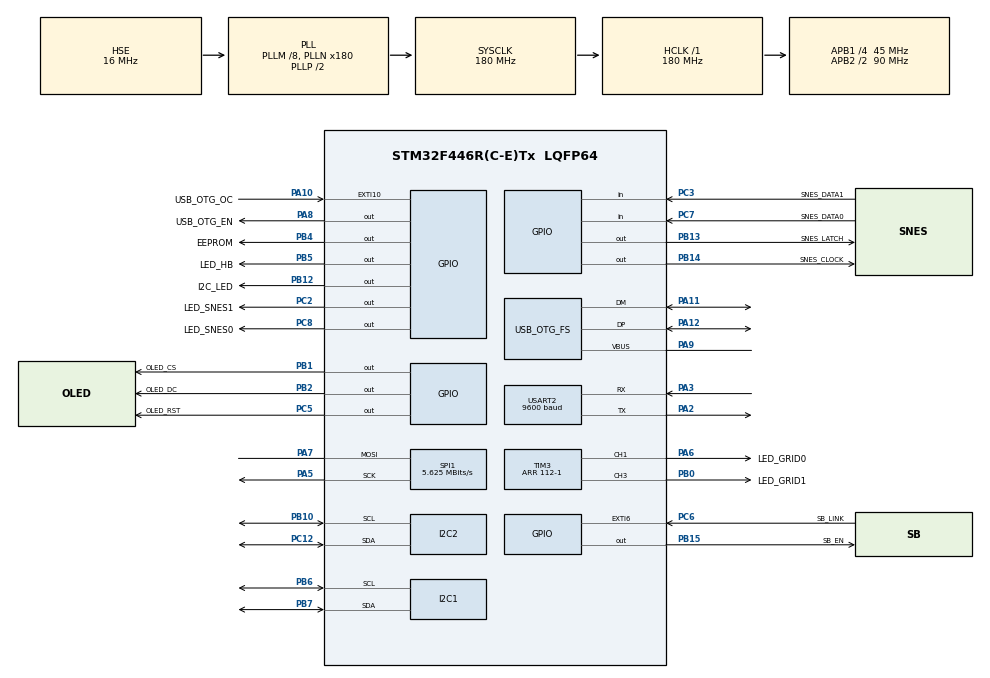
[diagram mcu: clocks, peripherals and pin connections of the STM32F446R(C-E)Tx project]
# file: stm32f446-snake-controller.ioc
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Dma.Request0=TIM3_CH1/TRIG
Dma.Request1=TIM3_CH3
Dma.TIM3_CH1/TRIG.0.Direction=DMA_MEMORY_TO_PERIPH
Dma.TIM3_CH1/TRIG.0.FIFOMode=DMA_FIFOMODE_DISABLE
Dma.TIM3_CH1/TRIG.0.Instance=DMA1_Stream4
Dma.TIM3_CH1/TRIG.0.MemDataAlignment=DMA_MDATAALIGN_HALFWORD
Dma.TIM3_CH1/TRIG.0.MemInc=DMA_MINC_ENABLE
Dma.TIM3_CH1/TRIG.0.Mode=DMA_NORMAL
Dma.TIM3_CH1/TRIG.0.PeriphDataAlignment=DMA_PDATAALIGN_HALFWORD
Dma.TIM3_CH1/TRIG.0.PeriphInc=DMA_PINC_DISABLE
Dma.TIM3_CH1/TRIG.0.Priority=DMA_PRIORITY_HIGH
Dma.TIM3_CH3.1.Direction=DMA_MEMORY_TO_PERIPH
Dma.TIM3_CH3.1.FIFOMode=DMA_FIFOMODE_DISABLE
Dma.TIM3_CH3.1.Instance=DMA1_Stream7
Dma.TIM3_CH3.1.MemDataAlignment=DMA_MDATAALIGN_HALFWORD
Dma.TIM3_CH3.1.MemInc=DMA_MINC_ENABLE
Dma.TIM3_CH3.1.Mode=DMA_NORMAL
Dma.TIM3_CH3.1.PeriphDataAlignment=DMA_PDATAALIGN_HALFWORD
Dma.TIM3_CH3.1.PeriphInc=DMA_PINC_DISABLE
Dma.TIM3_CH3.1.Priority=DMA_PRIORITY_HIGH
FREERTOS.HEAP_NUMBER=4
FREERTOS.Tasks01=defaultTask,24,512,StartDefaultTask,Default,NULL,Dynamic,NULL,NULL;heartbeatTask,8,128,StartHeartbeatTask,Default,NULL,Dynamic,NULL,NULL;Rj45LEDTask,8,128,StartRj45LED,Default,NULL,Dynamic,NULL,NULL
FREERTOS.configTOTAL_HEAP_SIZE=80000
FREERTOS.configUSE_NEWLIB_REENTRANT=1
I2C2.I2C_Mode=I2C_Fast
I2C2.OwnAddress=0x10
Mcu.Family=STM32F4
Mcu.Name=STM32F446R(C-E)Tx
Mcu.Package=LQFP64
NVIC.DMA1_Stream4_IRQn=true\:5\:0\:false\:false\:true\:true\:false\:true\:true
NVIC.DMA1_Stream7_IRQn=true\:5\:0\:false\:false\:true\:true\:false\:true\:true
NVIC.EXTI15_10_IRQn=true\:5\:0\:false\:false\:true\:true\:true\:true\:true
NVIC.EXTI9_5_IRQn=true\:5\:0\:false\:false\:true\:true\:true\:true\:true
NVIC.I2C2_ER_IRQn=true\:5\:0\:false\:false\:true\:true\:true\:true\:true
NVIC.I2C2_EV_IRQn=true\:5\:0\:false\:false\:true\:true\:true\:true\:true
NVIC.OTG_FS_IRQn=true\:5\:0\:false\:false\:true\:true\:false\:true\:true
NVIC.PriorityGroup=NVIC_PRIORITYGROUP_4
NVIC.TIM4_IRQn=true\:15\:0\:false\:false\:true\:false\:false\:true\:true
NVIC.TIM8_UP_TIM13_IRQn=true\:5\:0\:false\:false\:true\:true\:true\:true\:true
NVIC.TimeBase=TIM4_IRQn
NVIC.TimeBaseIP=TIM4
NVIC.USART2_IRQn=true\:5\:0\:false\:false\:true\:true\:true\:true\:true
PA10.GPIO_Label=USB_OTG_OC
PA10.GPIO_ModeDefaultEXTI=GPIO_MODE_IT_FALLING
PA10.Signal=GPXTI10
PA11.Mode=Host_Only
PA11.Signal=USB_OTG_FS_DM
PA12.Mode=Host_Only
PA12.Signal=USB_OTG_FS_DP
PA13.Mode=Trace_Asynchronous_SW
PA13.Signal=SYS_JTMS-SWDIO
PA14.Mode=Trace_Asynchronous_SW
PA14.Signal=SYS_JTCK-SWCLK
PA2.Mode=Asynchronous
PA2.Signal=USART2_TX
PA3.Mode=Asynchronous
PA3.Signal=USART2_RX
PA5.Mode=Simplex_Bidirectional_Master
PA5.Signal=SPI1_SCK
PA6.GPIO_Label=LED_GRID0
PA6.Signal=S_TIM3_CH1
PA7.Mode=Simplex_Bidirectional_Master
PA7.Signal=SPI1_MOSI
PA8.GPIO_Label=USB_OTG_EN
PA8.GPIO_ModeDefaultOutputPP=GPIO_MODE_OUTPUT_OD
PA8.GPIO_PuPd=GPIO_NOPULL
PA8.Signal=GPIO_Output
PA9.Mode=Activate_VBUS
PA9.Signal=USB_OTG_FS_VBUS
PB0.GPIO_Label=LED_GRID1
PB0.Signal=S_TIM3_CH3
PB1.GPIO_Label=OLED_CS
PB1.Signal=GPIO_Output
PB10.GPIO_Pu=GPIO_PULLUP
PB10.Mode=I2C
PB10.Signal=I2C2_SCL
PB12.GPIO_Label=I2C_LED
PB12.GPIO_ModeDefaultOutputPP=GPIO_MODE_OUTPUT_OD
PB12.GPIO_PuPd=GPIO_NOPULL
PB12.GPIO_Speed=GPIO_SPEED_FREQ_HIGH
PB12.PinState=GPIO_PIN_SET
PB12.Signal=GPIO_Output
PB13.GPIO_Label=SNES_LATCH
PB13.GPIO_ModeDefaultOutputPP=GPIO_MODE_OUTPUT_OD
PB13.GPIO_PuPd=GPIO_PULLUP
PB13.Signal=GPIO_Output
PB14.GPIO_Label=SNES_CLOCK
PB14.GPIO_ModeDefaultOutputPP=GPIO_MODE_OUTPUT_OD
PB14.GPIO_PuPd=GPIO_PULLUP
PB14.PinState=GPIO_PIN_SET
PB14.Signal=GPIO_Output
PB15.GPIO_Label=SB_EN
PB15.PinState=GPIO_PIN_SET
PB15.Signal=GPIO_Output
PB2.GPIO_Label=OLED_DC
PB2.Signal=GPIO_Output
PB3.Mode=Trace_Asynchronous_SW
PB3.Signal=SYS_JTDO-SWO
PB4.GPIO_Label=EEPROM
PB4.Signal=GPIO_Output
PB5.GPIO_Label=LED_HB
PB5.Signal=GPIO_Output
PB6.Mode=I2C
PB6.Signal=I2C1_SCL
PB7.Mode=I2C
PB7.Signal=I2C1_SDA
PC12.GPIO_Pu=GPIO_PULLUP
PC12.Mode=I2C
PC12.Signal=I2C2_SDA
PC14-OSC32_IN.Mode=LSE-External-Oscillator
PC14-OSC32_IN.Signal=RCC_OSC32_IN
PC15-OSC32_OUT.Mode=LSE-External-Oscillator
PC15-OSC32_OUT.Signal=RCC_OSC32_OUT
PC2.GPIO_Label=LED_SNES1
PC2.Signal=GPIO_Output
PC3.GPIO_Label=SNES_DATA1
PC3.GPIO_PuPd=GPIO_PULLDOWN
PC3.Signal=GPIO_Input
PC5.GPIO_Label=OLED_RST
PC5.Signal=GPIO_Output
PC6.GPIO_Label=SB_LINK
PC6.GPIO_ModeDefaultEXTI=GPIO_MODE_IT_RISING_FALLING
PC6.Signal=GPXTI6
PC7.GPIO_Label=SNES_DATA0
PC7.GPIO_PuPd=GPIO_PULLDOWN
PC7.Signal=GPIO_Input
PC8.GPIO_Label=LED_SNES0
PC8.Signal=GPIO_Output
PH0-OSC_IN.Mode=HSE-External-Oscillator
PH0-OSC_IN.Signal=RCC_OSC_IN
PH1-OSC_OUT.Mode=HSE-External-Oscillator
PH1-OSC_OUT.Signal=RCC_OSC_OUT
ProjectManager.HeapSize=0x1000
ProjectManager.StackSize=0x400
ProjectManager.TargetToolchain=STM32CubeIDE
RCC.AHBFreq_Value=180000000
RCC.APB1CLKDivider=RCC_HCLK_DIV4
RCC.APB1Freq_Value=45000000
RCC.APB1TimFreq_Value=90000000
RCC.APB2CLKDivider=RCC_HCLK_DIV2
RCC.APB2Freq_Value=90000000
RCC.APB2TimFreq_Value=180000000
RCC.CortexFreq_Value=180000000
RCC.HCLKFreq_Value=180000000
RCC.HSE_VALUE=16000000
RCC.PLLM=8
RCC.PLLN=180
RCC.PLLQ=7
RCC.PLLSAIP=RCC_PLLSAIP_DIV4
RCC.RCC_RTC_Clock_SourceVirtual=RCC_RTCCLKSOURCE_LSE
RCC.SYSCLKFreq_VALUE=180000000
RCC.SYSCLKSource=RCC_SYSCLKSOURCE_PLLCLK
RCC.USBCLockSelection=RCC_CLK48CLKSOURCE_PLLSAIP
RCC.USBFreq_Value=48000000
RCC.VCOOutputFreq_Value=360000000
SH.S_TIM3_CH1.0=TIM3_CH1,PWM Generation1 CH1
SH.S_TIM3_CH3.0=TIM3_CH3,PWM Generation3 CH3
SPI1.BaudRatePrescaler=SPI_BAUDRATEPRESCALER_16
SPI1.CLKPhase=SPI_PHASE_1EDGE
SPI1.CLKPolarity=SPI_POLARITY_HIGH
SPI1.CalculateBaudRate=5.625 MBits/s
SPI1.Direction=SPI_DIRECTION_1LINE
SPI1.Mode=SPI_MODE_MASTER
SPI1.VirtualType=VM_MASTER
TIM1.Prescaler=168-1
TIM13.Period=410-1
TIM13.Prescaler=9000-1
TIM2.Prescaler=90-1
TIM3.Channel-PWM\ Generation1\ CH1=TIM_CHANNEL_1
TIM3.Channel-PWM\ Generation3\ CH3=TIM_CHANNEL_3
TIM3.Period=112-1
TIM5.Prescaler=90-1
USART2.BaudRate=9600
USART2.Mode=MODE_RX
USART2.VirtualMode=VM_ASYNC
USB_HOST.SW_VBUS_DRIVE_HID_FS=true
USB_HOST.USBH_HandleTypeDef-HID_FS=hUsbHostFS
USB_HOST.VirtualModeFS=Hid
USB_OTG_FS.VirtualMode=Host_Only
USB_OTG_FS.phy_itface=HCD_PHY_EMBEDDED
VP_FREERTOS_VS_CMSIS_V2.Mode=CMSIS_V2
VP_RTC_VS_RTC_Activate.Mode=RTC_Enabled
VP_SYS_VS_tim4.Mode=TIM4
VP_TIM13_VS_ClockSourceINT.Mode=Enable_Timer
VP_TIM1_VS_ClockSourceINT.Mode=Internal
VP_TIM2_VS_ClockSourceINT.Mode=Internal
VP_TIM3_VS_ClockSourceINT.Mode=Internal
VP_TIM5_VS_ClockSourceINT.Mode=Internal
VP_USB_HOST_VS_USB_HOST_HID_FS.Mode=HID_FS
board=custom

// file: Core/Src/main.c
/* USER CODE BEGIN Header */
/**
 ******************************************************************************
 * @file           : main.c
 * @brief          : Main program body
 ******************************************************************************
 * @attention
 *
 * Copyright (c) 2023 STMicroelectronics.
 * All rights reserved.
 *
 * This software is licensed under terms that can be found in the LICENSE file
 * in the root directory of this software component.
 * If no LICENSE file comes with this software, it is provided AS-IS.
 *
 ******************************************************************************
 */
/* USER CODE END Header */
#include "main.h"
#include "cmsis_os.h"
#include "usb_host.h"

/* USER CODE BEGIN Includes */
#include <stdio.h>
#include <stdlib.h>
#include <string.h>
#include "game.h"
#include "snes_controller.h"
#include "ws2812.h"
#include "led_indicator.h"

/* USER CODE END Includes */

/* USER CODE BEGIN PD */
#define RTC_DRIFT_CORRECTION_DIR 1 // 1 for fast, -1 for slow
#define RTC_DRIFT_NUM_SECONDS 0.5 // Number of seconds to drift over
#define RTC_DRIFT_CORRECTION_VALUE (RTC_DRIFT_NUM_SECONDS / 0.0824) // Value to adjust the RTC by to correct for drift

/* USER CODE END PD */

I2C_HandleTypeDef hi2c1;
I2C_HandleTypeDef hi2c2;

RTC_HandleTypeDef hrtc;

SPI_HandleTypeDef hspi1;

TIM_HandleTypeDef htim1;
TIM_HandleTypeDef htim2;
TIM_HandleTypeDef htim3;
TIM_HandleTypeDef htim5;
TIM_HandleTypeDef htim13;
DMA_HandleTypeDef hdma_tim3_ch1_trig;
DMA_HandleTypeDef hdma_tim3_ch3;

UART_HandleTypeDef huart2;

/* Definitions for defaultTask */
osThreadId_t defaultTaskHandle;
const osThreadAttr_t defaultTask_attributes = {
  .name = "defaultTask",
  .stack_size = 512 * 4,
  .priority = (osPriority_t) osPriorityNormal,
};
/* Definitions for heartbeatTask */
osThreadId_t heartbeatTaskHandle;
const osThreadAttr_t heartbeatTask_attributes = {
  .name = "heartbeatTask",
  .stack_size = 128 * 4,
  .priority = (osPriority_t) osPriorityLow,
};
/* Definitions for Rj45LEDTask */
osThreadId_t Rj45LEDTaskHandle;
const osThreadAttr_t Rj45LEDTask_attributes = {
  .name = "Rj45LEDTask",
  .stack_size = 128 * 4,
  .priority = (osPriority_t) osPriorityLow,
};
/* USER CODE BEGIN PV */

extern led_t led;
led_indicator_t scoreboard_led;
extern snes_controller_t controller1;
extern snes_controller_t controller2;
extern uint8_t update_screen_flag;

/* USER CODE END PV */

void SystemClock_Config(void);
static void MX_GPIO_Init(void);
static void MX_DMA_Init(void);
static void MX_I2C1_Init(void);
static void MX_RTC_Init(void);
static void MX_SPI1_Init(void);
static void MX_TIM1_Init(void);
static void MX_TIM2_Init(void);
static void MX_TIM3_Init(void);
static void MX_TIM5_Init(void);
static void MX_USART2_UART_Init(void);
static void MX_TIM13_Init(void);
static void MX_I2C2_Init(void);
void StartDefaultTask(void *argument);
void StartHeartbeatTask(void *argument);
void StartRj45LED(void *argument);

int main(void)
{

  /* MCU Configuration--------------------------------------------------------*/

  /* Reset of all peripherals, Initializes the Flash interface and the Systick. */
  HAL_Init();

  /* Configure the system clock */
  SystemClock_Config();

  /* Initialize all configured peripherals */
  MX_GPIO_Init();
  MX_DMA_Init();
  MX_I2C1_Init();
  MX_RTC_Init();
  MX_SPI1_Init();
  MX_TIM1_Init();
  MX_TIM2_Init();
  MX_TIM3_Init();
  MX_TIM5_Init();
  MX_USART2_UART_Init();
  MX_TIM13_Init();
  MX_I2C2_Init();
  /* USER CODE BEGIN 2 */
    snes_controller_init(&controller1, &htim5, SNES_LATCH_GPIO_Port,
    SNES_LATCH_Pin,
    SNES_CLOCK_GPIO_Port, SNES_CLOCK_Pin, SNES_DATA0_GPIO_Port,
    SNES_DATA0_Pin);
    snes_controller_init(&controller2, &htim5, SNES_LATCH_GPIO_Port,
    SNES_LATCH_Pin,
    SNES_CLOCK_GPIO_Port, SNES_CLOCK_Pin, SNES_DATA1_GPIO_Port,
    SNES_DATA1_Pin);
    led_indicator_init(&scoreboard_led, I2C_LED_GPIO_Port, I2C_LED_Pin, 1000);

  /* USER CODE END 2 */

  /* Init scheduler */
  osKernelInitialize();

  /* USER CODE BEGIN RTOS_TIMERS */
    HAL_TIM_Base_Start(&htim1);
    HAL_TIM_Base_Start(&htim2);
    HAL_TIM_Base_Start(&htim5);
    HAL_TIM_Base_Start_IT(&htim13);

  /* USER CODE END RTOS_TIMERS */

  /* Create the thread(s) */
  /* creation of defaultTask */
  defaultTaskHandle = osThreadNew(StartDefaultTask, NULL, &defaultTask_attributes);

  /* creation of heartbeatTask */
  heartbeatTaskHandle = osThreadNew(StartHeartbeatTask, NULL, &heartbeatTask_attributes);

  /* creation of Rj45LEDTask */
  Rj45LEDTaskHandle = osThreadNew(StartRj45LED, NULL, &Rj45LEDTask_attributes);

  /* Start scheduler */
  osKernelStart();

  /* We should never get here as control is now taken by the scheduler */
  /* Infinite loop */
    while (1) {

    }
}

void SystemClock_Config(void)
{
  RCC_OscInitTypeDef RCC_OscInitStruct = {0};
  RCC_ClkInitTypeDef RCC_ClkInitStruct = {0};

  /** Configure the main internal regulator output voltage
  */
  __HAL_RCC_PWR_CLK_ENABLE();
  __HAL_PWR_VOLTAGESCALING_CONFIG(PWR_REGULATOR_VOLTAGE_SCALE1);

  /** Initializes the RCC Oscillators according to the specified parameters
  * in the RCC_OscInitTypeDef structure.
  */
  RCC_OscInitStruct.OscillatorType = RCC_OSCILLATORTYPE_HSE|RCC_OSCILLATORTYPE_LSE;
  RCC_OscInitStruct.HSEState = RCC_HSE_ON;
  RCC_OscInitStruct.LSEState = RCC_LSE_ON;
  RCC_OscInitStruct.PLL.PLLState = RCC_PLL_ON;
  RCC_OscInitStruct.PLL.PLLSource = RCC_PLLSOURCE_HSE;
  RCC_OscInitStruct.PLL.PLLM = 8;
  RCC_OscInitStruct.PLL.PLLN = 180;
  RCC_OscInitStruct.PLL.PLLP = RCC_PLLP_DIV2;
  RCC_OscInitStruct.PLL.PLLQ = 7;
  RCC_OscInitStruct.PLL.PLLR = 2;
  if (HAL_RCC_OscConfig(&RCC_OscInitStruct) != HAL_OK)
  {
    Error_Handler();
  }

  /** Activate the Over-Drive mode
  */
  if (HAL_PWREx_EnableOverDrive() != HAL_OK)
  {
    Error_Handler();
  }

  /** Initializes the CPU, AHB and APB buses clocks
  */
  RCC_ClkInitStruct.ClockType = RCC_CLOCKTYPE_HCLK|RCC_CLOCKTYPE_SYSCLK
                              |RCC_CLOCKTYPE_PCLK1|RCC_CLOCKTYPE_PCLK2;
  RCC_ClkInitStruct.SYSCLKSource = RCC_SYSCLKSOURCE_PLLCLK;
  RCC_ClkInitStruct.AHBCLKDivider = RCC_SYSCLK_DIV1;
  RCC_ClkInitStruct.APB1CLKDivider = RCC_HCLK_DIV4;
  RCC_ClkInitStruct.APB2CLKDivider = RCC_HCLK_DIV2;

  if (HAL_RCC_ClockConfig(&RCC_ClkInitStruct, FLASH_LATENCY_5) != HAL_OK)
  {
    Error_Handler();
  }
}

static void MX_I2C1_Init(void)
{

  hi2c1.Instance = I2C1;
  hi2c1.Init.ClockSpeed = 100000;
  hi2c1.Init.DutyCycle = I2C_DUTYCYCLE_2;
  hi2c1.Init.OwnAddress1 = 0;
  hi2c1.Init.AddressingMode = I2C_ADDRESSINGMODE_7BIT;
  hi2c1.Init.DualAddressMode = I2C_DUALADDRESS_DISABLE;
  hi2c1.Init.OwnAddress2 = 0;
  hi2c1.Init.GeneralCallMode = I2C_GENERALCALL_DISABLE;
  hi2c1.Init.NoStretchMode = I2C_NOSTRETCH_DISABLE;
  if (HAL_I2C_Init(&hi2c1) != HAL_OK)
  {
    Error_Handler();
  }

}

static void MX_I2C2_Init(void)
{

  hi2c2.Instance = I2C2;
  hi2c2.Init.ClockSpeed = 400000;
  hi2c2.Init.DutyCycle = I2C_DUTYCYCLE_2;
  hi2c2.Init.OwnAddress1 = 32;
  hi2c2.Init.AddressingMode = I2C_ADDRESSINGMODE_7BIT;
  hi2c2.Init.DualAddressMode = I2C_DUALADDRESS_DISABLE;
  hi2c2.Init.OwnAddress2 = 0;
  hi2c2.Init.GeneralCallMode = I2C_GENERALCALL_DISABLE;
  hi2c2.Init.NoStretchMode = I2C_NOSTRETCH_DISABLE;
  if (HAL_I2C_Init(&hi2c2) != HAL_OK)
  {
    Error_Handler();
  }

}

static void MX_RTC_Init(void)
{

  /** Initialize RTC Only
  */
  hrtc.Instance = RTC;
  hrtc.Init.HourFormat = RTC_HOURFORMAT_24;
  hrtc.Init.AsynchPrediv = 127;
  hrtc.Init.SynchPrediv = 255;
  hrtc.Init.OutPut = RTC_OUTPUT_DISABLE;
  hrtc.Init.OutPutPolarity = RTC_OUTPUT_POLARITY_HIGH;
  hrtc.Init.OutPutType = RTC_OUTPUT_TYPE_OPENDRAIN;
  if (HAL_RTC_Init(&hrtc) != HAL_OK)
  {
    Error_Handler();
  }
  /* USER CODE BEGIN RTC_Init 2 */

    // Set the RTC drift correction
    // If the RTC is too fast, we can use the following to slow it down.
#if RTC_DRIFT_CORRECTION_DIR == 1
    HAL_RTCEx_SetSmoothCalib(&hrtc, RTC_SMOOTHCALIB_PERIOD_32SEC, RTC_SMOOTHCALIB_PLUSPULSES_RESET,
    RTC_DRIFT_CORRECTION_VALUE);

#elif RTC_DRIFT_CORRECTION_DIR == -1
    // If the RTC is too slow, we can use the following to speed it up.
    HAL_RTCEx_SetSmoothCalib(&hrtc, RTC_SMOOTHCALIB_PERIOD_32SEC, RTC_SMOOTHCALIB_PLUSPULSES_SET, 512 - RTC_DRIFT_CORRECTION_VALUE);
#endif
  /* USER CODE END RTC_Init 2 */

}

static void MX_SPI1_Init(void)
{

  /* SPI1 parameter configuration*/
  hspi1.Instance = SPI1;
  hspi1.Init.Mode = SPI_MODE_MASTER;
  hspi1.Init.Direction = SPI_DIRECTION_1LINE;
  hspi1.Init.DataSize = SPI_DATASIZE_8BIT;
  hspi1.Init.CLKPolarity = SPI_POLARITY_HIGH;
  hspi1.Init.CLKPhase = SPI_PHASE_1EDGE;
  hspi1.Init.NSS = SPI_NSS_SOFT;
  hspi1.Init.BaudRatePrescaler = SPI_BAUDRATEPRESCALER_16;
  hspi1.Init.FirstBit = SPI_FIRSTBIT_MSB;
  hspi1.Init.TIMode = SPI_TIMODE_DISABLE;
  hspi1.Init.CRCCalculation = SPI_CRCCALCULATION_DISABLE;
  hspi1.Init.CRCPolynomial = 10;
  if (HAL_SPI_Init(&hspi1) != HAL_OK)
  {
    Error_Handler();
  }

}

static void MX_TIM1_Init(void)
{

  TIM_ClockConfigTypeDef sClockSourceConfig = {0};
  TIM_MasterConfigTypeDef sMasterConfig = {0};

  htim1.Instance = TIM1;
  htim1.Init.Prescaler = 168-1;
  htim1.Init.CounterMode = TIM_COUNTERMODE_UP;
  htim1.Init.Period = 65535;
  htim1.Init.ClockDivision = TIM_CLOCKDIVISION_DIV1;
  htim1.Init.RepetitionCounter = 0;
  htim1.Init.AutoReloadPreload = TIM_AUTORELOAD_PRELOAD_DISABLE;
  if (HAL_TIM_Base_Init(&htim1) != HAL_OK)
  {
    Error_Handler();
  }
  sClockSourceConfig.ClockSource = TIM_CLOCKSOURCE_INTERNAL;
  if (HAL_TIM_ConfigClockSource(&htim1, &sClockSourceConfig) != HAL_OK)
  {
    Error_Handler();
  }
  sMasterConfig.MasterOutputTrigger = TIM_TRGO_RESET;
  sMasterConfig.MasterSlaveMode = TIM_MASTERSLAVEMODE_DISABLE;
  if (HAL_TIMEx_MasterConfigSynchronization(&htim1, &sMasterConfig) != HAL_OK)
  {
    Error_Handler();
  }

}

static void MX_TIM2_Init(void)
{

  TIM_ClockConfigTypeDef sClockSourceConfig = {0};
  TIM_MasterConfigTypeDef sMasterConfig = {0};

  htim2.Instance = TIM2;
  htim2.Init.Prescaler = 90-1;
  htim2.Init.CounterMode = TIM_COUNTERMODE_UP;
  htim2.Init.Period = 4294967295;
  htim2.Init.ClockDivision = TIM_CLOCKDIVISION_DIV1;
  htim2.Init.AutoReloadPreload = TIM_AUTORELOAD_PRELOAD_DISABLE;
  if (HAL_TIM_Base_Init(&htim2) != HAL_OK)
  {
    Error_Handler();
  }
  sClockSourceConfig.ClockSource = TIM_CLOCKSOURCE_INTERNAL;
  if (HAL_TIM_ConfigClockSource(&htim2, &sClockSourceConfig) != HAL_OK)
  {
    Error_Handler();
  }
  sMasterConfig.MasterOutputTrigger = TIM_TRGO_RESET;
  sMasterConfig.MasterSlaveMode = TIM_MASTERSLAVEMODE_DISABLE;
  if (HAL_TIMEx_MasterConfigSynchronization(&htim2, &sMasterConfig) != HAL_OK)
  {
    Error_Handler();
  }

}

static void MX_TIM3_Init(void)
{

  TIM_ClockConfigTypeDef sClockSourceConfig = {0};
  TIM_MasterConfigTypeDef sMasterConfig = {0};
  TIM_OC_InitTypeDef sConfigOC = {0};

  htim3.Instance = TIM3;
  htim3.Init.Prescaler = 0;
  htim3.Init.CounterMode = TIM_COUNTERMODE_UP;
  htim3.Init.Period = 112-1;
  htim3.Init.ClockDivision = TIM_CLOCKDIVISION_DIV1;
  htim3.Init.AutoReloadPreload = TIM_AUTORELOAD_PRELOAD_DISABLE;
  if (HAL_TIM_Base_Init(&htim3) != HAL_OK)
  {
    Error_Handler();
  }
  sClockSourceConfig.ClockSource = TIM_CLOCKSOURCE_INTERNAL;
  if (HAL_TIM_ConfigClockSource(&htim3, &sClockSourceConfig) != HAL_OK)
  {
    Error_Handler();
  }
  if (HAL_TIM_PWM_Init(&htim3) != HAL_OK)
  {
    Error_Handler();
  }
  sMasterConfig.MasterOutputTrigger = TIM_TRGO_RESET;
  sMasterConfig.MasterSlaveMode = TIM_MASTERSLAVEMODE_DISABLE;
  if (HAL_TIMEx_MasterConfigSynchronization(&htim3, &sMasterConfig) != HAL_OK)
  {
    Error_Handler();
  }
  sConfigOC.OCMode = TIM_OCMODE_PWM1;
  sConfigOC.Pulse = 0;
  sConfigOC.OCPolarity = TIM_OCPOLARITY_HIGH;
  sConfigOC.OCFastMode = TIM_OCFAST_DISABLE;
  if (HAL_TIM_PWM_ConfigChannel(&htim3, &sConfigOC, TIM_CHANNEL_1) != HAL_OK)
  {
    Error_Handler();
  }
  if (HAL_TIM_PWM_ConfigChannel(&htim3, &sConfigOC, TIM_CHANNEL_3) != HAL_OK)
  {
    Error_Handler();
  }
  HAL_TIM_MspPostInit(&htim3);

}

static void MX_TIM5_Init(void)
{

  TIM_ClockConfigTypeDef sClockSourceConfig = {0};
  TIM_MasterConfigTypeDef sMasterConfig = {0};

  htim5.Instance = TIM5;
  htim5.Init.Prescaler = 90-1;
  htim5.Init.CounterMode = TIM_COUNTERMODE_UP;
  htim5.Init.Period = 4294967295;
  htim5.Init.ClockDivision = TIM_CLOCKDIVISION_DIV1;
  htim5.Init.AutoReloadPreload = TIM_AUTORELOAD_PRELOAD_DISABLE;
  if (HAL_TIM_Base_Init(&htim5) != HAL_OK)
  {
    Error_Handler();
  }
  sClockSourceConfig.ClockSource = TIM_CLOCKSOURCE_INTERNAL;
  if (HAL_TIM_ConfigClockSource(&htim5, &sClockSourceConfig) != HAL_OK)
  {
    Error_Handler();
  }
  sMasterConfig.MasterOutputTrigger = TIM_TRGO_RESET;
  sMasterConfig.MasterSlaveMode = TIM_MASTERSLAVEMODE_DISABLE;
  if (HAL_TIMEx_MasterConfigSynchronization(&htim5, &sMasterConfig) != HAL_OK)
  {
    Error_Handler();
  }

}

static void MX_TIM13_Init(void)
{

  htim13.Instance = TIM13;
  htim13.Init.Prescaler = 9000-1;
  htim13.Init.CounterMode = TIM_COUNTERMODE_UP;
  htim13.Init.Period = 410-1;
  htim13.Init.ClockDivision = TIM_CLOCKDIVISION_DIV1;
  htim13.Init.AutoReloadPreload = TIM_AUTORELOAD_PRELOAD_DISABLE;
  if (HAL_TIM_Base_Init(&htim13) != HAL_OK)
  {
    Error_Handler();
  }

}

static void MX_USART2_UART_Init(void)
{

  huart2.Instance = USART2;
  huart2.Init.BaudRate = 9600;
  huart2.Init.WordLength = UART_WORDLENGTH_8B;
  huart2.Init.StopBits = UART_STOPBITS_1;
  huart2.Init.Parity = UART_PARITY_NONE;
  huart2.Init.Mode = UART_MODE_RX;
  huart2.Init.HwFlowCtl = UART_HWCONTROL_NONE;
  huart2.Init.OverSampling = UART_OVERSAMPLING_16;
  if (HAL_UART_Init(&huart2) != HAL_OK)
  {
    Error_Handler();
  }

}

static void MX_DMA_Init(void)
{

  /* DMA controller clock enable */
  __HAL_RCC_DMA1_CLK_ENABLE();

  /* DMA interrupt init */
  /* DMA1_Stream4_IRQn interrupt configuration */
  HAL_NVIC_SetPriority(DMA1_Stream4_IRQn, 5, 0);
  HAL_NVIC_EnableIRQ(DMA1_Stream4_IRQn);
  /* DMA1_Stream7_IRQn interrupt configuration */
  HAL_NVIC_SetPriority(DMA1_Stream7_IRQn, 5, 0);
  HAL_NVIC_EnableIRQ(DMA1_Stream7_IRQn);

}

static void MX_GPIO_Init(void)
{
  GPIO_InitTypeDef GPIO_InitStruct = {0};

  /* GPIO Ports Clock Enable */
  __HAL_RCC_GPIOC_CLK_ENABLE();
  __HAL_RCC_GPIOH_CLK_ENABLE();
  __HAL_RCC_GPIOA_CLK_ENABLE();
  __HAL_RCC_GPIOB_CLK_ENABLE();
  __HAL_RCC_GPIOD_CLK_ENABLE();

  /*Configure GPIO pin Output Level */
  HAL_GPIO_WritePin(GPIOC, LED_SNES1_Pin|OLED_RST_Pin|LED_SNES0_Pin, GPIO_PIN_RESET);

  /*Configure GPIO pin Output Level */
  HAL_GPIO_WritePin(GPIOB, OLED_CS_Pin|OLED_DC_Pin|SNES_LATCH_Pin|EEPROM_Pin
                          |LED_HB_Pin, GPIO_PIN_RESET);

  /*Configure GPIO pin Output Level */
  HAL_GPIO_WritePin(GPIOB, I2C_LED_Pin|SNES_CLOCK_Pin|SB_EN_Pin, GPIO_PIN_SET);

  /*Configure GPIO pin Output Level */
  HAL_GPIO_WritePin(USB_OTG_EN_GPIO_Port, USB_OTG_EN_Pin, GPIO_PIN_RESET);

  /*Configure GPIO pins : PC13 PC0 PC1 PC4
                           PC9 PC10 PC11 */
  GPIO_InitStruct.Pin = GPIO_PIN_13|GPIO_PIN_0|GPIO_PIN_1|GPIO_PIN_4
                          |GPIO_PIN_9|GPIO_PIN_10|GPIO_PIN_11;
  GPIO_InitStruct.Mode = GPIO_MODE_ANALOG;
  GPIO_InitStruct.Pull = GPIO_NOPULL;
  HAL_GPIO_Init(GPIOC, &GPIO_InitStruct);

  /*Configure GPIO pins : LED_SNES1_Pin OLED_RST_Pin LED_SNES0_Pin */
  GPIO_InitStruct.Pin = LED_SNES1_Pin|OLED_RST_Pin|LED_SNES0_Pin;
  GPIO_InitStruct.Mode = GPIO_MODE_OUTPUT_PP;
  GPIO_InitStruct.Pull = GPIO_NOPULL;
  GPIO_InitStruct.Speed = GPIO_SPEED_FREQ_LOW;
  HAL_GPIO_Init(GPIOC, &GPIO_InitStruct);

  /*Configure GPIO pins : SNES_DATA1_Pin SNES_DATA0_Pin */
  GPIO_InitStruct.Pin = SNES_DATA1_Pin|SNES_DATA0_Pin;
  GPIO_InitStruct.Mode = GPIO_MODE_INPUT;
  GPIO_InitStruct.Pull = GPIO_PULLDOWN;
  HAL_GPIO_Init(GPIOC, &GPIO_InitStruct);

  /*Configure GPIO pins : PA0 PA1 PA4 PA15 */
  GPIO_InitStruct.Pin = GPIO_PIN_0|GPIO_PIN_1|GPIO_PIN_4|GPIO_PIN_15;
  GPIO_InitStruct.Mode = GPIO_MODE_ANALOG;
  GPIO_InitStruct.Pull = GPIO_NOPULL;
  HAL_GPIO_Init(GPIOA, &GPIO_InitStruct);

  /*Configure GPIO pins : OLED_CS_Pin OLED_DC_Pin SB_EN_Pin EEPROM_Pin
                           LED_HB_Pin */
  GPIO_InitStruct.Pin = OLED_CS_Pin|OLED_DC_Pin|SB_EN_Pin|EEPROM_Pin
                          |LED_HB_Pin;
  GPIO_InitStruct.Mode = GPIO_MODE_OUTPUT_PP;
  GPIO_InitStruct.Pull = GPIO_NOPULL;
  GPIO_InitStruct.Speed = GPIO_SPEED_FREQ_LOW;
  HAL_GPIO_Init(GPIOB, &GPIO_InitStruct);

  /*Configure GPIO pin : I2C_LED_Pin */
  GPIO_InitStruct.Pin = I2C_LED_Pin;
  GPIO_InitStruct.Mode = GPIO_MODE_OUTPUT_OD;
  GPIO_InitStruct.Pull = GPIO_NOPULL;
  GPIO_InitStruct.Speed = GPIO_SPEED_FREQ_HIGH;
  HAL_GPIO_Init(I2C_LED_GPIO_Port, &GPIO_InitStruct);

  /*Configure GPIO pins : SNES_LATCH_Pin SNES_CLOCK_Pin */
  GPIO_InitStruct.Pin = SNES_LATCH_Pin|SNES_CLOCK_Pin;
  GPIO_InitStruct.Mode = GPIO_MODE_OUTPUT_OD;
  GPIO_InitStruct.Pull = GPIO_PULLUP;
  GPIO_InitStruct.Speed = GPIO_SPEED_FREQ_LOW;
  HAL_GPIO_Init(GPIOB, &GPIO_InitStruct);

  /*Configure GPIO pin : SB_LINK_Pin */
  GPIO_InitStruct.Pin = SB_LINK_Pin;
  GPIO_InitStruct.Mode = GPIO_MODE_IT_RISING_FALLING;
  GPIO_InitStruct.Pull = GPIO_NOPULL;
  HAL_GPIO_Init(SB_LINK_GPIO_Port, &GPIO_InitStruct);

  /*Configure GPIO pin : USB_OTG_EN_Pin */
  GPIO_InitStruct.Pin = USB_OTG_EN_Pin;
  GPIO_InitStruct.Mode = GPIO_MODE_OUTPUT_OD;
  GPIO_InitStruct.Pull = GPIO_NOPULL;
  GPIO_InitStruct.Speed = GPIO_SPEED_FREQ_LOW;
  HAL_GPIO_Init(USB_OTG_EN_GPIO_Port, &GPIO_InitStruct);

  /*Configure GPIO pin : USB_OTG_OC_Pin */
  GPIO_InitStruct.Pin = USB_OTG_OC_Pin;
  GPIO_InitStruct.Mode = GPIO_MODE_IT_FALLING;
  GPIO_InitStruct.Pull = GPIO_NOPULL;
  HAL_GPIO_Init(USB_OTG_OC_GPIO_Port, &GPIO_InitStruct);

  /*Configure GPIO pin : PD2 */
  GPIO_InitStruct.Pin = GPIO_PIN_2;
  GPIO_InitStruct.Mode = GPIO_MODE_ANALOG;
  GPIO_InitStruct.Pull = GPIO_NOPULL;
  HAL_GPIO_Init(GPIOD, &GPIO_InitStruct);

  /*Configure GPIO pins : PB8 PB9 */
  GPIO_InitStruct.Pin = GPIO_PIN_8|GPIO_PIN_9;
  GPIO_InitStruct.Mode = GPIO_MODE_ANALOG;
  GPIO_InitStruct.Pull = GPIO_NOPULL;
  HAL_GPIO_Init(GPIOB, &GPIO_InitStruct);

  /* EXTI interrupt init*/
  HAL_NVIC_SetPriority(EXTI9_5_IRQn, 5, 0);
  HAL_NVIC_EnableIRQ(EXTI9_5_IRQn);

  HAL_NVIC_SetPriority(EXTI15_10_IRQn, 5, 0);
  HAL_NVIC_EnableIRQ(EXTI15_10_IRQn);

}

/* USER CODE BEGIN 4 */

void HAL_TIM_PWM_PulseFinishedCallback(TIM_HandleTypeDef *htim) {
    HAL_TIM_PWM_Stop_DMA(&htim3, TIM_CHANNEL_1);
    led.data_sent_flag = 1;
}

/* USER CODE END 4 */

void StartDefaultTask(void *argument)
{
  /* init code for USB_HOST */
  MX_USB_HOST_Init();
  /* USER CODE BEGIN 5 */
    game_loop();
  /* USER CODE END 5 */
}

void StartHeartbeatTask(void *argument)
{
  /* USER CODE BEGIN StartHeartbeatTask */
    /* Infinite loop */
    for (;;) {
        HAL_GPIO_TogglePin(LED_HB_GPIO_Port, LED_HB_Pin);
        if (!controller1.is_active) {
            HAL_GPIO_WritePin(LED_SNES0_GPIO_Port, LED_SNES0_Pin, GPIO_PIN_RESET);
        } else {
            HAL_GPIO_WritePin(LED_SNES0_GPIO_Port, LED_SNES0_Pin, GPIO_PIN_SET);
        }
        if (!controller2.is_active) {
            HAL_GPIO_WritePin(LED_SNES1_GPIO_Port, LED_SNES1_Pin, GPIO_PIN_RESET);
        } else {
            HAL_GPIO_WritePin(LED_SNES1_GPIO_Port, LED_SNES1_Pin, GPIO_PIN_SET);
        }
        osDelay(500);
    }
  /* USER CODE END StartHeartbeatTask */
}

void StartRj45LED(void *argument)
{
  /* USER CODE BEGIN StartRj45LED */
    led_indicator_set_blink(&scoreboard_led, 40, 10);

    /* Infinite loop */
    for (;;) {
        led_indicator_update(&scoreboard_led, TIM2->CNT);
        osDelay(5);
    }
  /* USER CODE END StartRj45LED */
}

void HAL_TIM_PeriodElapsedCallback(TIM_HandleTypeDef *htim)
{
  if (htim->Instance == TIM4) {
    HAL_IncTick();
  }
  /* USER CODE BEGIN Callback 1 */
    if (htim->Instance == TIM13) {
        update_screen_flag = 1;
    }
  /* USER CODE END Callback 1 */
}

void Error_Handler(void)
{
    __disable_irq();
    while (1) {
    }
}
